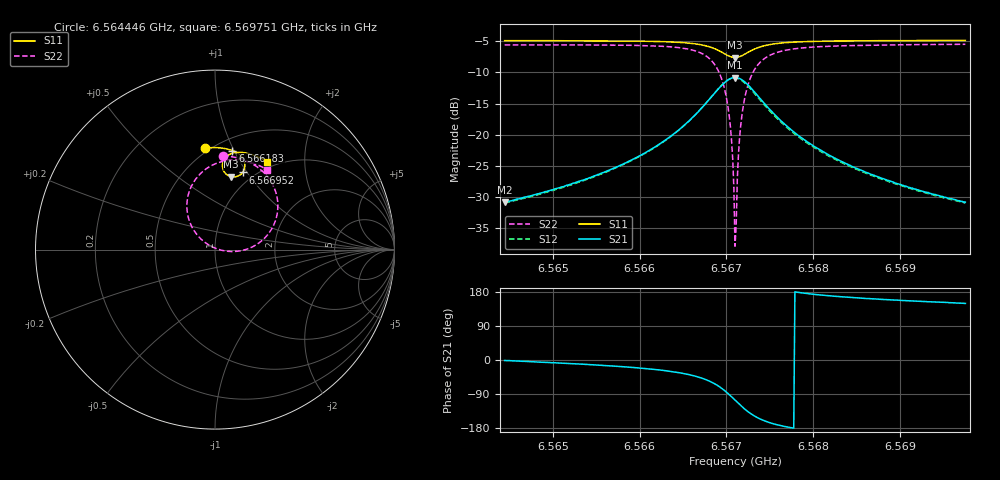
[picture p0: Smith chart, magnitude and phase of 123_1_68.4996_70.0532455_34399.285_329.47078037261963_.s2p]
#  HZ  S  RI  R  50.00
! Rohde & Schwarz Vector Network Analyzer
! Rohde-Schwarz,ZNB20-2Port,1311601062101988,3.16
! Created: UTC 3/20/2024, 5:09:11 PM
! freq[Hz]  re:S11  im:S11  re:S21  im:S21  re:S12  im:S12  re:S22  im:S22
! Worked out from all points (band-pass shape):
!   401 points, 6.564446 GHz to 6.569751 GHz, reference 50 ohm
!   highest |S21| = -10.83 dB at 6.567098 GHz (marker M1); lowest = -30.9 dB at 6.564446 GHz (marker M2)
!   |S21| within 3 dB of the highest: 6.566834 GHz to 6.567364 GHz (530.2 kHz wide, 0.00807 % of centre)
!   lowest |S11| = -7.6 dB at 6.567098 GHz (marker M3), VSWR 2.42, Z = 41.7 + j40.9 ohm
!   |S11| at or under -10 dB: nowhere
!   |S22| runs from -37.9 to -5.5 dB; largest |S21 - S12| = 0.014
!   S11 on the Smith chart (normalised r, x): 6.564446 GHz: 0.47, +0.79; 6.566183 GHz: 0.61, +0.99; 6.566952 GHz: 0.88, +0.95; 6.569751 GHz: 0.91, +1.32
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6.5644457e9  -0.056 0.5663  0.0287 -0.000657  0.0282 -0.00113  0.044 0.5238
6.5653343e9  0.0172 0.5676  0.0421 -0.0082  0.0413 -0.0088  0.1291 0.5095
6.566183e9  0.0972 0.5521  0.0726 -0.0341  0.0714 -0.035  0.2427 0.4549
6.5662228e9  0.1015 0.5504  0.075 -0.0368  0.0738 -0.0378  0.2497 0.4494
6.5665279e9  0.1374 0.5293  0.0974 -0.0723  0.0959 -0.0737  0.3117 0.3796
6.5667401e9  0.1618 0.4957  0.1103 -0.1307  0.1078 -0.1333  0.3494 0.267
6.5668594e9  0.1665 0.4625  0.0998 -0.1887  0.0949 -0.1924  0.335 0.156
6.5669522e9  0.154 0.43  0.061 -0.2443  0.0524 -0.2473  0.2645 0.0528
6.5670318e9  0.1245 0.4082  -0.00642 -0.2787  -0.0183 -0.2781  0.1404 -0.00713
6.5670583e9  0.1112 0.405  -0.0348 -0.2823  -0.0471 -0.2795  0.0895 -0.0107
6.5670849e9  0.0973 0.4049  -0.064 -0.2801  -0.0764 -0.2751  0.0375 -0.00377
6.5670981e9  0.0903 0.4059  -0.0787 -0.2766  -0.0906 -0.2707  0.0122 0.00366
6.5671114e9  0.0836 0.408  -0.0925 -0.2719  -0.1042 -0.2649  -0.0122 0.0137
6.5671247e9  0.0771 0.4106  -0.1062 -0.266  -0.1172 -0.2578  -0.0352 0.026
6.5671512e9  0.0653 0.4178  -0.1306 -0.2502  -0.1401 -0.2405  -0.0759 0.0568
6.567191e9  0.0519 0.4325  -0.1592 -0.2202  -0.1659 -0.209  -0.1214 0.1132
6.567244e9  0.0425 0.4548  -0.1809 -0.176  -0.184 -0.1645  -0.152 0.1934
6.5673103e9  0.0424 0.4808  -0.187 -0.1254  -0.1866 -0.1152  -0.1536 0.2823
6.567549e9  0.0801 0.5301  -0.1434 -0.028  -0.1402 -0.0238  -0.0551 0.4457
6.5679867e9  0.1432 0.5423  -0.0819 0.00878  -0.0799 0.0102  0.083 0.4977
6.5688753e9  0.2268 0.5219  -0.0397 0.0154  -0.0387 0.0156  0.2135 0.4806
6.5697506e9  0.2919 0.4906  -0.0246 0.0147  -0.0241 0.0146  0.2912 0.4451
